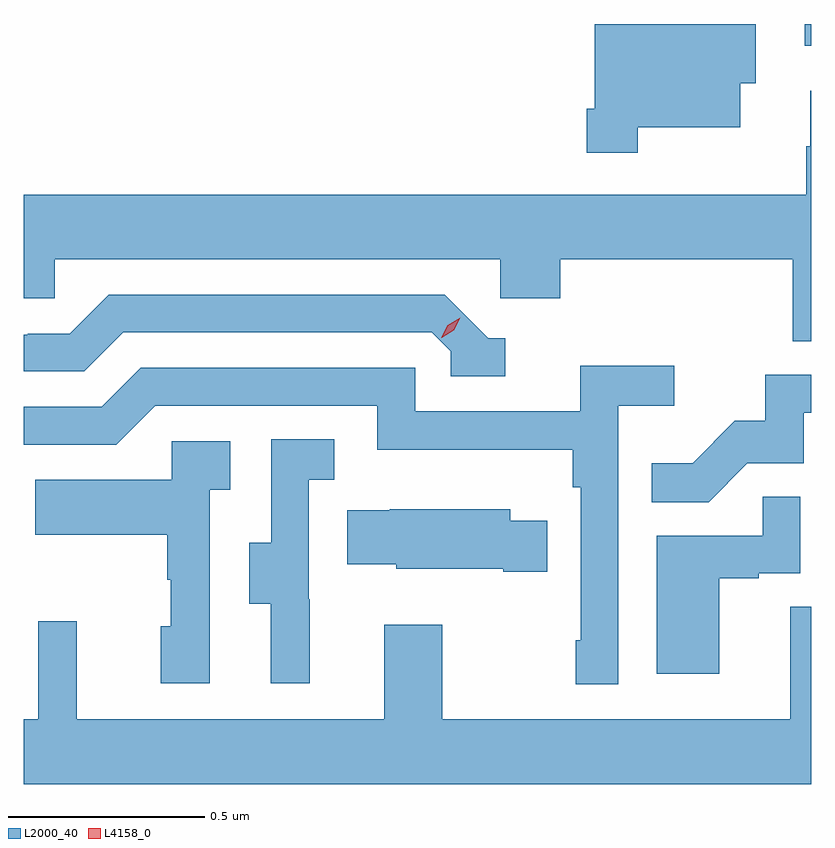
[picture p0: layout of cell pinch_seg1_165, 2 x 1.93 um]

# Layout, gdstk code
import gdstk
lib = gdstk.Library(unit=1e-6, precision=1e-09)
def R(c, l, rs):  # rectangles x0, y0, x1, y1
    for r in rs: c.add(gdstk.rectangle(r[:2], r[2:], *l))
def P(c, l, *ps):  # polygons
    for p in ps: c.add(gdstk.Polygon(p, *l))
L2000_40 = (2000, 40)
L4158_0 = (4158, 0)

pinch_seg1_165 = lib.new_cell('pinch_seg1_165')
R(pinch_seg1_165, L2000_40, [(1084.577,560.267,1084.594,560.322)])
P(pinch_seg1_165, L2000_40, [(1084.153,560.06),(1084.414,560.06),(1084.414,560.171),(1084.453,560.171),(1084.453,560.322),(1084.044,560.322),(1084.044,560.107),(1084.024,560.107),(1084.024,559.995),(1084.153,559.995)],
  [(1084.594,560.152),(1084.592,560.152),(1084.592,560.012),(1084.581,560.012),(1084.581,559.888),(1082.594,559.888),(1082.594,559.626),(1082.673,559.626),(1082.673,559.724),(1083.804,559.724),(1083.804,559.626),(1083.956,559.626),(1083.956,559.724),(1084.547,559.724),(1084.547,559.516),(1084.594,559.516)],
  [(1083.817,559.524),(1083.774,559.524),(1083.663,559.635),(1082.81,559.635),(1082.711,559.536),(1082.604,559.536),(1082.604,559.533),(1082.594,559.533),(1082.594,559.44),(1082.748,559.44),(1082.847,559.539),(1083.63,559.539),(1083.678,559.491),(1083.678,559.428),(1083.817,559.428)],
  [(1084.104,559.352),(1084.246,559.352),(1084.246,559.454),(1084.007,559.454),(1084.007,559.338),(1083.588,559.338),(1083.588,559.449),(1082.891,559.449),(1082.792,559.35),(1082.594,559.35),(1082.594,559.254),(1082.829,559.254),(1082.928,559.353),(1083.492,559.353),(1083.492,559.241),(1083.988,559.241),(1083.988,559.145),(1084.008,559.145),(1084.008,558.757),(1083.996,558.757),(1083.996,558.645),(1084.104,558.645)],
  [(1084.431,559.206),(1084.575,559.206),(1084.575,559.335),(1084.594,559.335),(1084.594,559.431),(1084.477,559.431),(1084.477,559.314),(1084.4,559.314),(1084.293,559.207),(1084.189,559.207),(1084.189,559.108),(1084.333,559.108)],
  [(1083.32,558.861),(1083.318,558.861),(1083.318,559.165),(1083.382,559.165),(1083.382,559.268),(1083.222,559.268),(1083.222,559.005),(1083.167,559.005),(1083.167,558.85),(1083.221,558.85),(1083.221,558.648),(1083.32,558.648)],
  [(1083.066,559.139),(1083.118,559.139),(1083.118,559.263),(1082.97,559.263),(1082.97,559.165),(1082.623,559.165),(1082.623,559.025),(1082.958,559.025),(1082.958,558.911),(1082.968,558.911),(1082.968,558.792),(1082.942,558.792),(1082.942,558.648),(1083.066,558.648)],
  [(1084.36,558.915),(1084.46,558.915),(1084.46,558.927),(1084.566,558.927),(1084.566,559.121),(1084.471,559.121),(1084.471,559.023),(1084.202,559.023),(1084.202,558.672),(1084.36,558.672)],
  [(1083.923,559.06),(1083.829,559.06),(1083.829,559.09),(1083.523,559.09),(1083.523,559.087),(1083.415,559.087),(1083.415,558.95),(1083.54,558.95),(1083.54,558.938),(1083.812,558.938),(1083.812,558.931),(1083.923,558.931)],
  [(1084.594,558.842),(1084.541,558.842),(1084.541,558.556),(1083.657,558.556),(1083.657,558.796),(1083.509,558.796),(1083.509,558.556),(1082.729,558.556),(1082.729,558.805),(1082.631,558.805),(1082.631,558.556),(1082.594,558.556),(1082.594,558.392),(1084.594,558.392)])
P(pinch_seg1_165, L4158_0, [(1083.654,559.525),(1083.654,559.525),(1083.671,559.557),(1083.702,559.576),(1083.702,559.576),(1083.702,559.576),(1083.686,559.544),(1083.655,559.525)])

lib.write_gds('pinch_seg1_165.gds')
